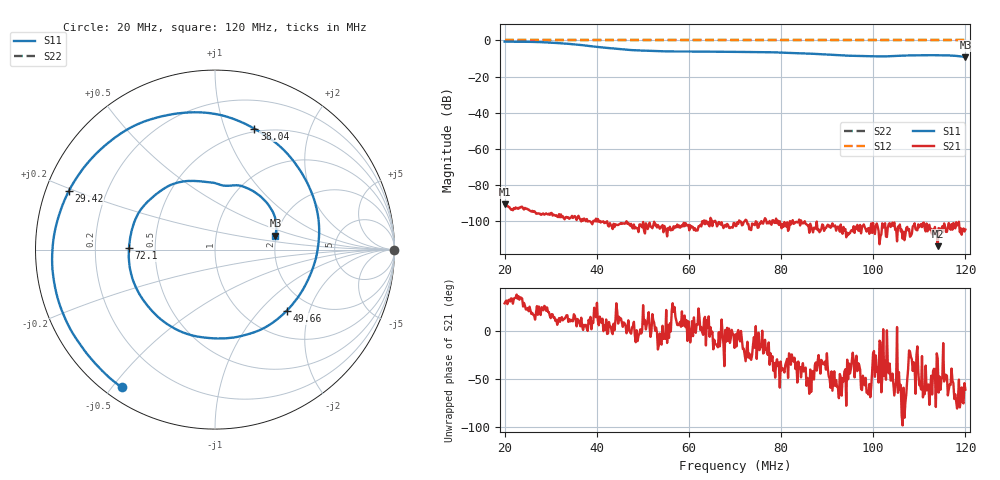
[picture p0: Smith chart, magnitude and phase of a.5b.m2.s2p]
! Anritsu VNA Master:  Model: MS2036C/10/77
! SN:  1601066
! /bd0/18may8/255.ns.m2.s2p
! Existing Calibration Information:
! TYPE:  Current Settings,  Active Cal Settings
! TIME:  05/08/2018 11:04:10 AM,  05/08/2018 10:55:57 AM
! INTERNAL TEMP:  50.5 C,  49.3 C
! # POINTS:  500,  500
! START FREQ:  20.000 MHz,  20.000 MHz
! STOP FREQ:  120.000 MHz,  120.000 MHz
! SOURCE POWER:  High,  High
! IFBW:  50 Hz,  50 Hz
! AVG FACTOR:  1 ,  1
! REF PLANE 1:  0 mm,  0 mm
! REF PLANE 2:  0 mm,  0 mm
! CAL TYPE:  Full S11,  Full S11
! CAL METHOD:  SOLT,  SOLT
! CAL LINE TYPE:  Coax,  Coax
! DUT PORT 1:  K-Conn(F),  K-Conn(F)
! DUT PORT 2:  K-Conn(F),  K-Conn(F)
! CAL STATUS:  OK: Accuracy High,  --
# GHZ S DB R 50.0
! FREQ.GHZ  S11DB  S11A  S21DB  S21A  S12DB  S12A  S22DB  S22A
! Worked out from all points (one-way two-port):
!   500 points, 20 MHz to 120 MHz, reference 50 ohm
!   highest |S21| = -90.95 dB at 20 MHz (marker M1); lowest = -114.1 dB at 114 MHz (marker M2)
!   lowest |S11| = -9.2 dB at 120 MHz (marker M3), VSWR 2.05, Z = 98.7 + j17.3 ohm
!   |S11| at or under -10 dB: nowhere
!   |S22| runs from 0.0 to 0.0 dB; largest |S21 - S12| = 1
!   S11 on the Smith chart (normalised r, x): 20 MHz: 0.05, -0.53; 29.42 MHz: 0.07, +0.19; 38.04 MHz: 0.47, +1.27; 49.66 MHz: 1.52, -1.43; 72.1 MHz: 0.35, +0.01; 120 MHz: 1.97, +0.35
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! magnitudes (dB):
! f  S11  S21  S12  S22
! 20 MHz  -0.7  -91.0  0.0  0.0
! 26.01 MHz  -0.8  -94.5  0.0  0.0
! 29.42 MHz  -1.1  -96.5  0.0  0.0
! 33.23 MHz  -1.7  -98.1  0.0  0.0
! 36.83 MHz  -2.6  -99.0  0.0  0.0
! 38.04 MHz  -3.0  -100.4  0.0  0.0
! 41.44 MHz  -3.9  -100.3  0.0  0.0
! 46.05 MHz  -5.1  -101.7  0.0  0.0
! 49.66 MHz  -5.6  -102.8  0.0  0.0
! 53.47 MHz  -5.9  -103.2  0.0  0.0
! 56.67 MHz  -6.1  -103.1  0.0  0.0
! 70.1 MHz  -6.3  -102.9  0.0  0.0
! 72.1 MHz  -6.4  -100.2  0.0  0.0
! 77.92 MHz  -6.5  -102.2  0.0  0.0
! 86.73 MHz  -7.4  -104.7  0.0  0.0
! 94.35 MHz  -8.4  -106.6  0.0  0.0
! 101 MHz  -8.9  -103.2  0.0  0.0
! 103.4 MHz  -8.8  -101.8  0.0  0.0
! 107.6 MHz  -8.3  -105.3  0.0  0.0
! 114 MHz  -8.2  -114.1  0.0  0.0
! 117.4 MHz  -8.4  -101.2  0.0  0.0
! 120 MHz  -9.2  -104.9  0.0  0.0
